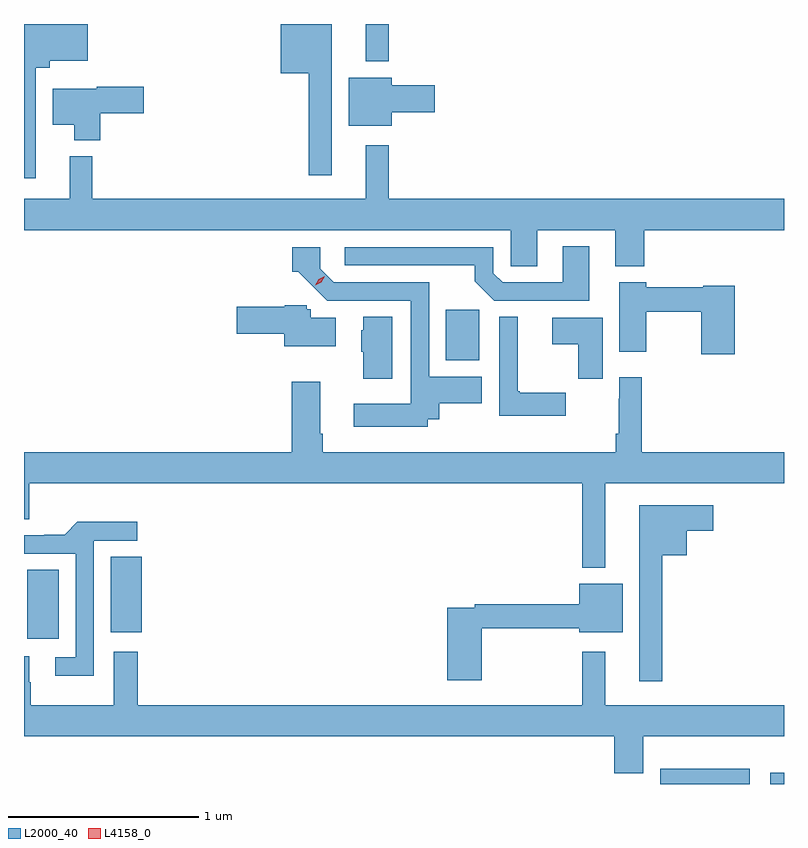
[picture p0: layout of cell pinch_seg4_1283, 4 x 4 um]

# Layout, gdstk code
import gdstk
lib = gdstk.Library(unit=1e-6, precision=1e-09)
def R(c, l, rs):  # rectangles x0, y0, x1, y1
    for r in rs: c.add(gdstk.rectangle(r[:2], r[2:], *l))
def P(c, l, *ps):  # polygons
    for p in ps: c.add(gdstk.Polygon(p, *l))
L2000_40 = (2000, 40)
L4158_0 = (4158, 0)

pinch_seg4_1283 = lib.new_cell('pinch_seg4_1283')
R(pinch_seg4_1283, L2000_40, [(378.908,768.597,379.378,768.676), (379.487,768.597,379.559,768.655), (375.575,769.362,375.742,769.724), (376.016,769.395,376.178,769.793), (377.78,770.828,377.956,771.092), (377.357,772.4,377.479,772.597)])
P(pinch_seg4_1283, L2000_40, [(375.621,772.367),(375.695,772.367),(375.695,772.403),(375.894,772.403),(375.894,772.597),(375.559,772.597),(375.559,771.786),(375.621,771.786)],
  [(377.179,772.597),(376.91,772.597),(376.91,772.337),(377.058,772.337),(377.058,771.801),(377.179,771.801)],
  [(377.494,772.132),(377.722,772.132),(377.722,772.274),(377.494,772.274),(377.494,772.315),(377.267,772.315),(377.267,772.061),(377.494,772.061)],
  [(375.959,772.126),(376.189,772.126),(376.189,772.268),(375.942,772.268),(375.942,772.255),(375.71,772.255),(375.71,772.067),(375.824,772.067),(375.824,771.986),(375.959,771.986)],
  [(378.259,771.512),(378.671,771.512),(378.671,771.323),(378.824,771.323),(378.824,771.512),(379.559,771.512),(379.559,771.676),(377.479,771.676),(377.479,771.958),(377.357,771.958),(377.357,771.676),(375.917,771.676),(375.917,771.901),(375.8,771.901),(375.8,771.676),(375.559,771.676),(375.559,771.512),(378.12,771.512),(378.12,771.322),(378.259,771.322)],
  [(378.535,771.427),(378.395,771.427),(378.395,771.237),(378.078,771.237),(378.03,771.285),(378.03,771.423),(377.247,771.423),(377.247,771.327),(377.932,771.327),(377.932,771.243),(378.033,771.141),(378.535,771.141)],
  [(377.683,770.516),(377.745,770.516),(377.745,770.6),(377.968,770.6),(377.968,770.74),(377.691,770.74),(377.691,771.237),(377.19,771.237),(377.118,771.309),(377.118,771.423),(376.971,771.423),(376.971,771.293),(377.002,771.293),(377.154,771.141),(377.595,771.141),(377.595,770.599),(377.295,770.599),(377.295,770.477),(377.683,770.477)],
  [(379.301,771.219),(379.134,771.219),(379.134,771.211),(378.834,771.211),(378.834,771.238),(378.692,771.238),(378.692,770.871),(378.834,770.871),(378.834,771.082),(379.123,771.082),(379.123,770.859),(379.301,770.859)],
  [(377.2,771.052),(377.067,771.052),(377.067,771.096),(377.046,771.096),(377.046,771.117),(376.932,771.117),(376.932,771.108),(376.68,771.108),(376.68,770.966),(376.928,770.966),(376.928,770.9),(377.2,770.9)],
  [(377.497,771.056),(377.345,771.056),(377.345,770.985),(377.333,770.985),(377.333,770.871),(377.345,770.871),(377.345,770.73),(377.497,770.73)],
  [(378.409,770.656),(378.169,770.656),(378.169,770.664),(378.158,770.664),(378.158,771.056),(378.06,771.056),(378.06,770.534),(378.409,770.534)],
  [(378.604,771.052),(378.339,771.052),(378.339,770.912),(378.475,770.912),(378.475,770.73),(378.604,770.73)],
  [(378.619,770.18),(379.559,770.18),(379.559,770.344),(378.809,770.344),(378.809,770.737),(378.693,770.737),(378.693,770.624),(378.688,770.624),(378.688,770.44),(378.673,770.44),(378.673,770.344),(377.132,770.344),(377.132,770.44),(377.119,770.44),(377.119,770.713),(376.967,770.713),(376.967,770.344),(375.559,770.344),(375.559,769.99),(375.586,769.99),(375.586,770.18),(378.498,770.18),(378.498,769.736),(378.619,769.736)],
  [(378.919,769.802),(379.048,769.802),(379.048,769.931),(379.186,769.931),(379.186,770.065),(378.797,770.065),(378.797,769.137),(378.919,769.137)],
  [(375.927,769.878),(376.156,769.878),(376.156,769.976),(375.839,769.976),(375.773,769.91),(375.665,769.91),(375.665,769.905),(375.559,769.905),(375.559,769.809),(375.831,769.809),(375.831,769.263),(375.723,769.263),(375.723,769.166),(375.927,769.166)],
  [(377.969,769.416),(378.482,769.416),(378.482,769.397),(378.709,769.397),(378.709,769.651),(378.482,769.651),(378.482,769.544),(377.932,769.544),(377.932,769.524),(377.786,769.524),(377.786,769.143),(377.969,769.143)],
  [(378.817,768.848),(379.559,768.848),(379.559,769.012),(378.619,769.012),(378.619,769.294),(378.498,769.294),(378.498,769.012),(376.157,769.012),(376.157,769.294),(376.031,769.294),(376.031,769.012),(375.594,769.012),(375.594,769.133),(375.586,769.133),(375.586,769.27),(375.559,769.27),(375.559,768.848),(378.665,768.848),(378.665,768.654),(378.817,768.654)])
P(pinch_seg4_1283, L4158_0, [(377.091,771.221),(377.091,771.221),(377.11,771.253),(377.143,771.27),(377.143,771.27),(377.143,771.27),(377.124,771.238),(377.091,771.221)])

lib.write_gds('pinch_seg4_1283.gds')
